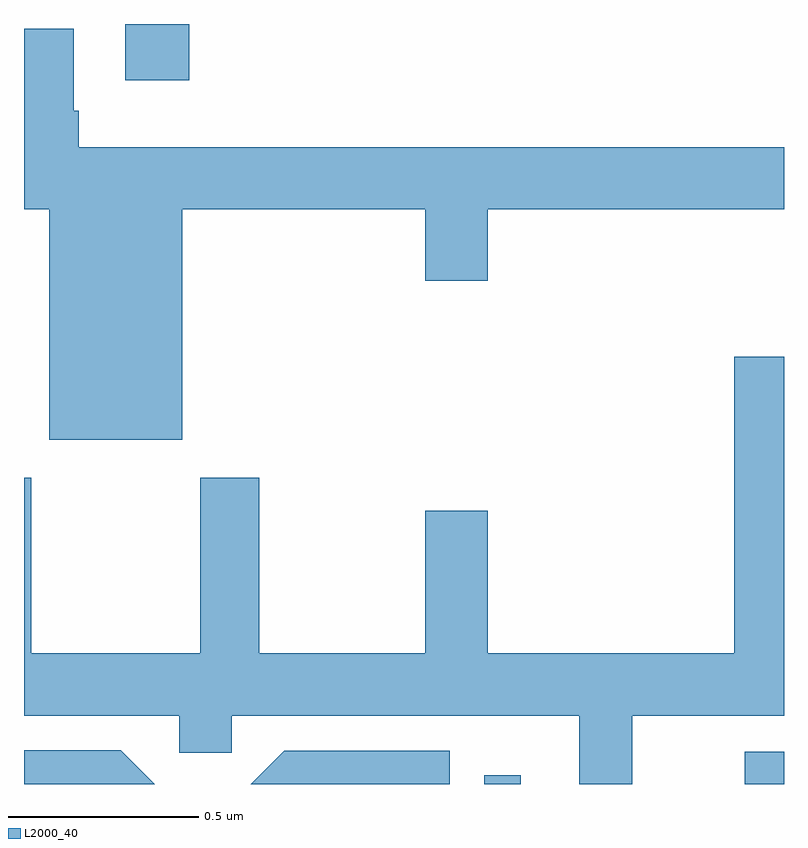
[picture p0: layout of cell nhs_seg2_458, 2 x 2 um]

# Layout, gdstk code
import gdstk
lib = gdstk.Library(unit=1e-6, precision=1e-09)
def R(c, l, rs):  # rectangles x0, y0, x1, y1
    for r in rs: c.add(gdstk.rectangle(r[:2], r[2:], *l))
def P(c, l, *ps):  # polygons
    for p in ps: c.add(gdstk.Polygon(p, *l))
L2000_40 = (2000, 40)

nhs_seg2_458 = lib.new_cell('nhs_seg2_458')
R(nhs_seg2_458, L2000_40, [(117.211,636.8,117.307,636.823), (117.897,636.8,118,636.885), (116.267,638.652,116.435,638.8)])
P(nhs_seg2_458, L2000_40, [(116.416,638.312),(117.056,638.312),(117.056,638.124),(117.22,638.124),(117.22,638.312),(118,638.312),(118,638.476),(116.144,638.476),(116.144,638.572),(116.131,638.572),(116.131,638.788),(116,638.788),(116,638.312),(116.066,638.312),(116.066,637.706),(116.416,637.706)],
  [(117.601,636.98),(118,636.98),(118,637.924),(117.869,637.924),(117.869,637.144),(117.22,637.144),(117.22,637.519),(117.056,637.519),(117.056,637.144),(116.619,637.144),(116.619,637.606),(116.464,637.606),(116.464,637.144),(116.019,637.144),(116.019,637.606),(116,637.606),(116,636.98),(116.409,636.98),(116.409,636.882),(116.547,636.882),(116.547,636.98),(117.461,636.98),(117.461,636.8),(117.601,636.8)],
  [(116.255,636.889),(116,636.889),(116,636.8),(116.344,636.8)],
  [(117.12,636.888),(116.685,636.888),(116.597,636.8),(117.12,636.8)])

lib.write_gds('nhs_seg2_458.gds')
